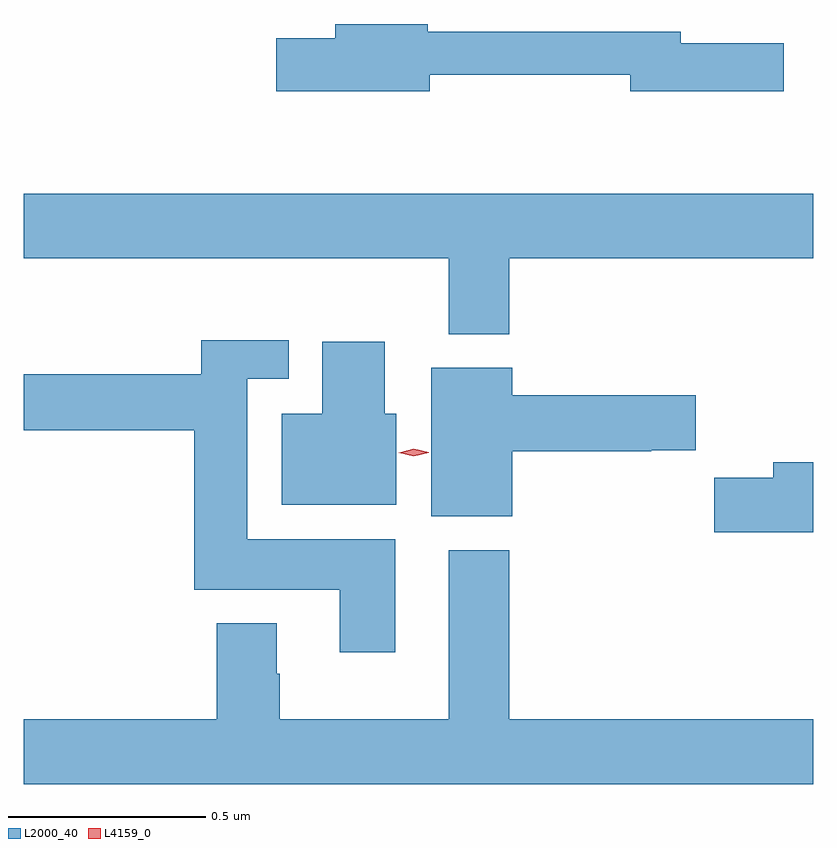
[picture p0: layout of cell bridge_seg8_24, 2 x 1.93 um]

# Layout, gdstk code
import gdstk
lib = gdstk.Library(unit=1e-6, precision=1e-09)
def P(c, l, *ps):  # polygons
    for p in ps: c.add(gdstk.Polygon(p, *l))
L2000_40 = (2000, 40)
L4159_0 = (4159, 0)

bridge_seg8_24 = lib.new_cell('bridge_seg8_24')
P(bridge_seg8_24, L2000_40, [(962.038,1155.594),(962.546,1155.594),(962.546,1155.551),(962.935,1155.551),(962.935,1155.673),(962.674,1155.673),(962.674,1155.702),(962.034,1155.702),(962.034,1155.722),(961.799,1155.722),(961.799,1155.686),(961.65,1155.686),(961.65,1155.551),(962.038,1155.551)],
  [(962.24,1155.128),(963.01,1155.128),(963.01,1155.292),(961.01,1155.292),(961.01,1155.128),(962.087,1155.128),(962.087,1154.936),(962.24,1154.936)],
  [(961.951,1154.416),(961.576,1154.416),(961.576,1154.823),(961.681,1154.823),(961.681,1154.921),(961.459,1154.921),(961.459,1154.835),(961.01,1154.835),(961.01,1154.693),(961.442,1154.693),(961.442,1154.288),(961.811,1154.288),(961.811,1154.13),(961.951,1154.13)],
  [(961.954,1154.734),(961.924,1154.734),(961.924,1154.917),(961.766,1154.917),(961.766,1154.734),(961.664,1154.734),(961.664,1154.504),(961.954,1154.504)],
  [(962.248,1154.639),(962.6,1154.639),(962.6,1154.642),(962.713,1154.642),(962.713,1154.781),(962.248,1154.781),(962.248,1154.851),(962.042,1154.851),(962.042,1154.474),(962.248,1154.474)],
  [(963.01,1154.612),(962.909,1154.612),(962.909,1154.572),(962.76,1154.572),(962.76,1154.434),(963.01,1154.434)],
  [(963.01,1153.96),(962.24,1153.96),(962.24,1154.389),(962.087,1154.389),(962.087,1153.96),(961.659,1153.96),(961.659,1154.076),(961.651,1154.076),(961.651,1154.203),(961.499,1154.203),(961.499,1153.96),(961.01,1153.96),(961.01,1153.796),(963.01,1153.796)])
P(bridge_seg8_24, L4159_0, [(961.998,1154.626),(961.96,1154.635),(961.96,1154.635),(961.96,1154.635),(961.998,1154.646),(962.036,1154.637),(962.036,1154.637),(962.036,1154.636)])

lib.write_gds('bridge_seg8_24.gds')
